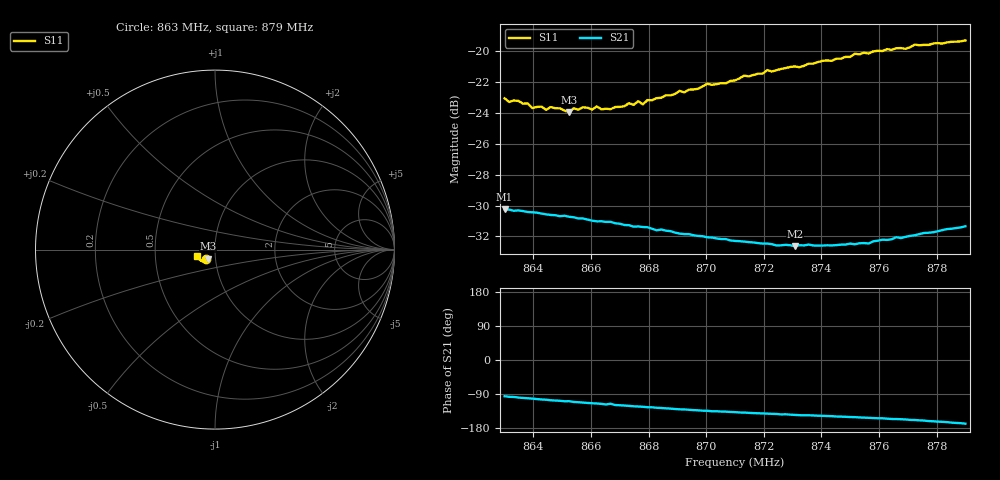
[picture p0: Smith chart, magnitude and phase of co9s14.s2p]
# HZ S RI R 50
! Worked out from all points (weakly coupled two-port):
!   101 points, 863 MHz to 879 MHz, reference 50 ohm
!   highest |S21| = -30.26 dB at 863 MHz (marker M1); lowest = -32.6 dB at 873.08 MHz (marker M2)
!   lowest |S11| = -24.0 dB at 865.24 MHz (marker M3), VSWR 1.14, Z = 46 - j4.65 ohm
!   |S11| at or under -10 dB: start of sweep to end of sweep
!   S12 and S22 are empty: the file has one direction only
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8.63e8  -0.0476 -0.0519  -0.00301 -0.0306  0 0  0 0
8.6316e8  -0.0444 -0.0521  -0.0038 -0.0304  0 0  0 0
8.638e8  -0.0438 -0.0517  -0.00571 -0.0296  0 0  0 0
8.6396e8  -0.0422 -0.05  -0.00614 -0.0294  0 0  0 0
8.6428e8  -0.0411 -0.0519  -0.00729 -0.0289  0 0  0 0
8.6444e8  -0.0401 -0.0507  -0.00757 -0.0286  0 0  0 0
8.646e8  -0.0412 -0.0515  -0.00823 -0.0283  0 0  0 0
8.6524e8  -0.0387 -0.0503  -0.00933 -0.0275  0 0  0 0
8.6572e8  -0.0372 -0.0543  -0.0109 -0.0265  0 0  0 0
8.6668e8  -0.0338 -0.0555  -0.012 -0.0253  0 0  0 0
8.6764e8  -0.0369 -0.0581  -0.0146 -0.0228  0 0  0 0
8.678e8  -0.0365 -0.0565  -0.0148 -0.0225  0 0  0 0
8.6796e8  -0.0368 -0.0589  -0.0153 -0.0221  0 0  0 0
8.6844e8  -0.0378 -0.0597  -0.0158 -0.0212  0 0  0 0
8.7004e8  -0.0438 -0.0651  -0.0173 -0.0179  0 0  0 0
8.71e8  -0.0463 -0.0658  -0.0179 -0.0164  0 0  0 0
8.7212e8  -0.0543 -0.0679  -0.0186 -0.0148  0 0  0 0
8.7308e8  -0.0594 -0.0668  -0.0191 -0.0134  0 0  0 0
8.7372e8  -0.0622 -0.0667  -0.0195 -0.013  0 0  0 0
8.7516e8  -0.0749 -0.0635  -0.0207 -0.0115  0 0  0 0
8.7644e8  -0.0837 -0.0567  -0.0224 -0.0101  0 0  0 0
8.79e8  -0.1017 -0.0377  -0.0265 -0.00562  0 0  0 0
